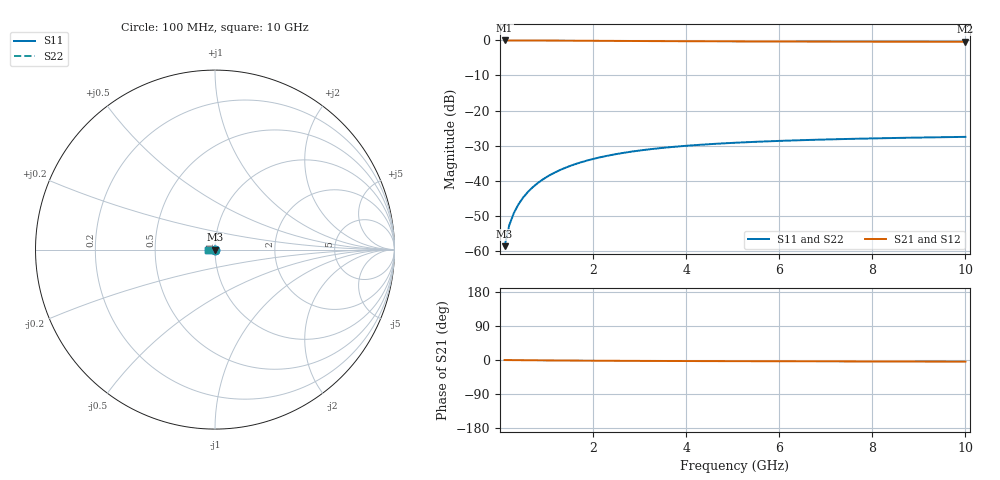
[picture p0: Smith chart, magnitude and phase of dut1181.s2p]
! Touchstone file exported from HFSS 2024.1.0
!  File:  C:/UserFiles/LocalFiles/RDL_TSV_Batchsim/temp_TSV1_1181_1780074856.aedt
!  Generated:  01:18:46 AM May 30, 2026
!  Design:  TSV1
!  Project:  temp_TSV1_1181_1780074856
!  Setup:  Setup1
!  Solution:  Sweep
! Variables:
!  dtsv = 11.29um
!  hbump = 3um
!  htsv = 66.5um
!  lrdl = 252.1521522um
!  p = 40
!  p1 = 48.57um
!  t = 500um
!  trdl = 3um
!  wrdl = 24.89489489um
# GHz S MA R 50.000000
! Terminal data exported
! Port[1] = TSV22_T1
! Port[2] = TSV22_T2
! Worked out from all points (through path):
!   100 points, 100 MHz to 10 GHz, reference 50 ohm
!   highest |S21| = 0.00 dB at 100 MHz (marker M1); lowest = -0.4 dB at 10 GHz (marker M2)
!   lowest |S11| = -58.7 dB at 100 MHz (marker M3), VSWR 1.00, Z = 50 - j0.116 ohm
!   |S11| at or under -10 dB: start of sweep to end of sweep
!   |S22| runs from -58.7 to -27.5 dB; largest |S21 - S12| = 5.3e-15
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0.1  0.001157 -86.7  0.9999 -0.1  0.9999 -0.1  0.001157 -86.7
! Gamma 0 0 0 0
! Port Impedance 50 0 50 0
0.2  0.002308 -90.7  0.9997 -0.2  0.9997 -0.2  0.002308 -90.7
0.3  0.00346 -93.2  0.9995 -0.3  0.9995 -0.3  0.00346 -93.2
0.4  0.004607 -95.3  0.9993 -0.4  0.9993 -0.4  0.004607 -95.3
0.5  0.005746 -97.3  0.999 -0.5  0.999 -0.5  0.005746 -97.3
0.6  0.006873 -99.2  0.9986 -0.6  0.9986 -0.6  0.006873 -99.2
0.7  0.007985 -101.0  0.9981 -0.7  0.9981 -0.7  0.007985 -101.0
0.8  0.009079 -102.8  0.9977 -0.8  0.9977 -0.8  0.009079 -102.8
0.9  0.01015 -104.5  0.9971 -0.9  0.9971 -0.9  0.01015 -104.5
1.1  0.01224 -107.9  0.9959 -1.1  0.9959 -1.1  0.01224 -107.9
1.4  0.01517 -112.7  0.9938 -1.4  0.9938 -1.4  0.01517 -112.7
1.6  0.017 -115.7  0.9923 -1.5  0.9923 -1.5  0.017 -115.7
1.8  0.01872 -118.6  0.9907 -1.7  0.9907 -1.7  0.01872 -118.6
2.1  0.02109 -122.7  0.9883 -1.9  0.9883 -1.9  0.02109 -122.7
2.5  0.02388 -127.7  0.9851 -2.1  0.9851 -2.1  0.02388 -127.7
2.9  0.02629 -132.3  0.9821 -2.3  0.9821 -2.3  0.02629 -132.3
3.4  0.02883 -137.4  0.9785 -2.5  0.9785 -2.5  0.02883 -137.4
4.2  0.03205 -144.3  0.9737 -2.8  0.9737 -2.8  0.03205 -144.3
5.1  0.03476 -150.9  0.9693 -3.1  0.9693 -3.1  0.03476 -150.9
6.7  0.03808 -160.1  0.9637 -3.5  0.9637 -3.5  0.03808 -160.1
8.4  0.04043 -167.7  0.9597 -3.9  0.9597 -3.9  0.04043 -167.7
10  0.04204 -173.7  0.9571 -4.4  0.9571 -4.4  0.04204 -173.7
